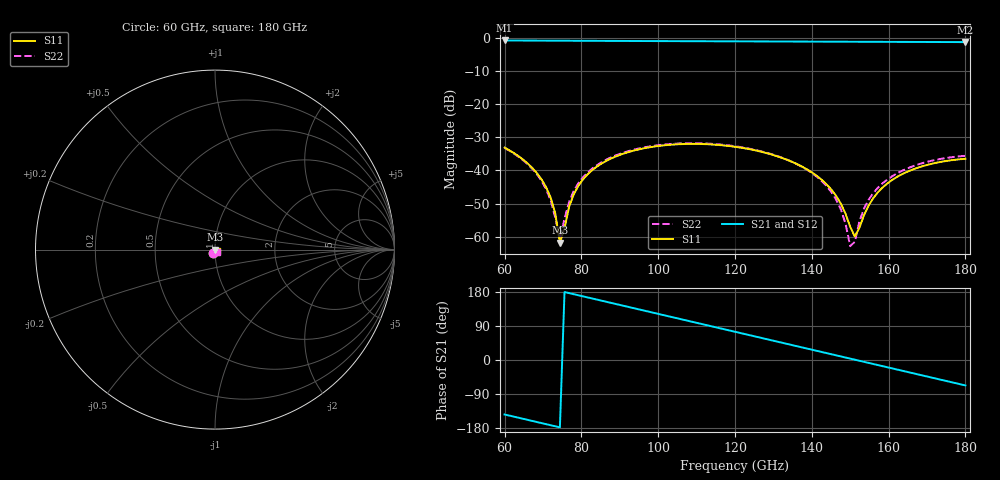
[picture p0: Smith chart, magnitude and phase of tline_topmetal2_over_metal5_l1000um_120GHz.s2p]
#  GHZ S DB R 50
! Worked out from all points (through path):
!   101 points, 60 GHz to 180 GHz, reference 50 ohm
!   highest |S21| = -0.84 dB at 60 GHz (marker M1); lowest = -1.3 dB at 180 GHz (marker M2)
!   group delay of S21, straight-line fit = 6.56 ps
!   lowest |S11| = -61.8 dB at 74.4 GHz (marker M3), VSWR 1.00, Z = 50 - j0.0812 ohm
!   |S11| at or under -10 dB: start of sweep to end of sweep
!   |S22| runs from -62.8 to -31.8 dB; largest |S21 - S12| = 1.5e-13
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60  -33.15 -115.5  -0.84 -143.8  -0.84 -143.8  -33.26 -115.1
66  -37.91 -128.1  -0.87 -158.0  -0.87 -158.0  -38.14 -127.2
70.8  -45.05 -135.4  -0.90 -169.3  -0.90 -169.3  -45.65 -132.4
73.2  -53.03 -130.4  -0.91 -175.0  -0.91 -175.0  -54.33 -119.5
74.4  -61.77 -95.4  -0.91 -177.8  -0.91 -177.8  -60.73 -61.5
76.8  -50.96 10.1  -0.93 176.5  -0.93 176.5  -49.46 7.6
80.4  -42.74 10.1  -0.94 168.0  -0.94 168.0  -42.11 8.3
88.8  -35.88 -6.6  -0.98 148.2  -0.98 148.2  -35.55 -7.7
100.8  -32.54 -34.1  -1.03 119.8  -1.03 119.8  -32.31 -34.8
110.4  -32.03 -56.7  -1.07 97.2  -1.07 97.2  -31.83 -57.4
120  -32.89 -79.8  -1.11 74.5  -1.11 74.5  -32.72 -80.3
132  -36.14 -109.7  -1.15 46.2  -1.15 46.2  -36.08 -109.7
140.4  -40.91 -132.7  -1.19 26.3  -1.19 26.3  -41.12 -131.6
146.4  -47.79 -155.1  -1.21 12.2  -1.21 12.2  -48.92 -151.8
148.8  -53.11 -173.7  -1.22 6.5  -1.22 6.5  -56.13 -170.2
150  -57.01 165.0  -1.23 3.7  -1.23 3.7  -62.85 154.4
151.2  -59.96 118.9  -1.23 0.8  -1.23 0.8  -61.53 70.4
152.4  -57.29 71.8  -1.23 -2.0  -1.23 -2.0  -55.36 43.2
154.8  -50.59 38.5  -1.24 -7.7  -1.24 -7.7  -48.86 26.5
160.8  -42.99 11.9  -1.27 -21.8  -1.27 -21.8  -41.86 6.6
169.2  -38.62 -12.3  -1.30 -41.6  -1.30 -41.6  -37.69 -15.9
180  -36.51 -41.1  -1.34 -67.1  -1.34 -67.1  -35.61 -44.0
